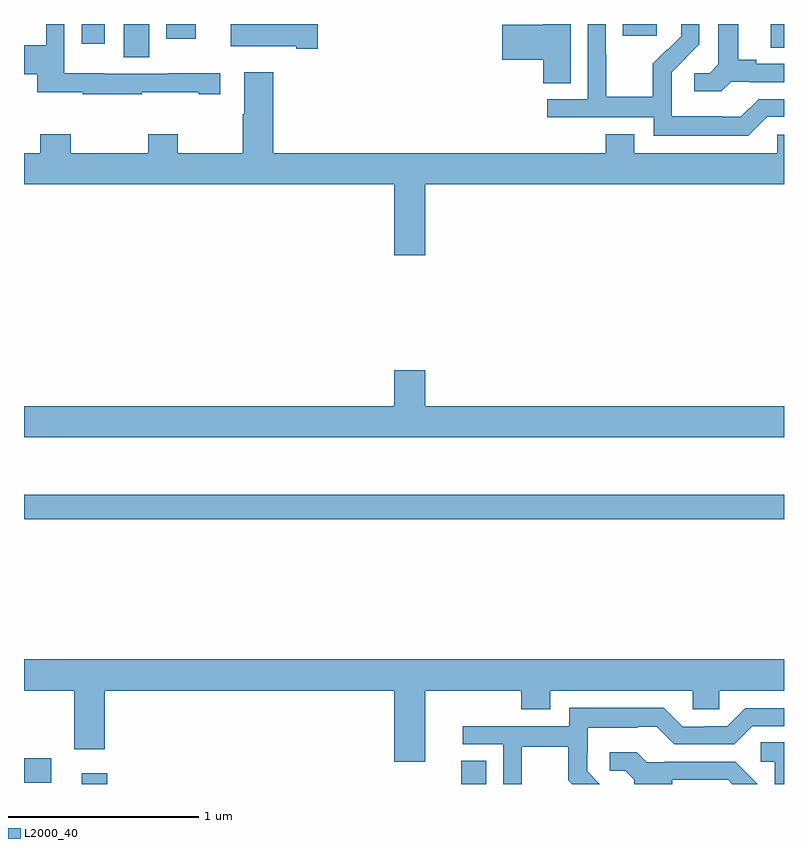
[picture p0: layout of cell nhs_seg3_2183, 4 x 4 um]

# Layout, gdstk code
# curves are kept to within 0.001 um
import gdstk
lib = gdstk.Library(unit=1e-6, precision=1e-09)
def R(c, l, rs):  # rectangles x0, y0, x1, y1
    for r in rs: c.add(gdstk.rectangle(r[:2], r[2:], *l))
def P(c, l, *ps):  # polygons
    for p in ps: c.add(gdstk.Polygon(p, *l))
L2000_40 = (2000, 40)

nhs_seg3_2183 = lib.new_cell('nhs_seg3_2183')
R(nhs_seg3_2183, L2000_40, [(223.304,724.4,223.439,724.456), (225.302,724.4,225.433,724.523), (223,724.407,223.144,724.536), (223,725.794,227,725.923), (223.526,728.224,223.66,728.4), (226.931,728.275,227,728.4), (223.304,728.295,223.426,728.4), (223.748,728.322,223.903,728.4), (226.151,728.337,226.33,728.4)])
P(nhs_seg3_2183, L2000_40, [(226.911,727.911),(227,727.911),(227,728.004),(226.866,728.004),(226.773,727.911),(226.673,727.911),(226.673,727.915),(226.41,727.915),(226.41,728.049),(226.408,728.049),(226.408,728.146),(226.554,728.294),(226.554,728.4),(226.46,728.4),(226.46,728.336),(226.389,728.265),(226.386,728.268),(226.309,728.191),(226.309,728.017),(226.065,728.017),(226.065,728.24),(226.062,728.24),(226.062,728.4),(225.966,728.4),(225.966,728.004),(225.753,728.004),(225.753,727.908),(226.314,727.908),(226.314,727.811),(226.811,727.811)],
  [(226.722,728.097),(226.816,728.097),(226.816,728.094),(227,728.094),(227,728.19),(226.855,728.19),(226.855,728.213),(226.759,728.213),(226.759,728.4),(226.655,728.4),(226.655,728.189),(226.608,728.142),(226.527,728.142),(226.527,728.045),(226.67,728.045)],
  [(224.545,728.4),(224.087,728.4),(224.087,728.282),(224.432,728.282),(224.432,728.27),(224.545,728.27)],
  [(223.619,728.041),(223.919,728.041),(223.919,728.031),(224.032,728.031),(224.032,728.141),(223.756,728.141),(223.756,728.139),(223.422,728.139),(223.422,728.14),(223.212,728.14),(223.212,728.4),(223.116,728.4),(223.116,728.288),(223,728.288),(223,728.135),(223.07,728.135),(223.07,728.041),(223.309,728.041),(223.309,728.031),(223.619,728.031)],
  [(225.877,728.4),(225.734,728.4),(225.734,728.396),(225.516,728.396),(225.516,728.213),(225.734,728.213),(225.734,728.089),(225.877,728.089)],
  [(225.112,727.556),(227,727.556),(227,727.818),(226.965,727.818),(226.965,727.72),(226.213,727.72),(226.213,727.819),(226.061,727.819),(226.061,727.72),(224.312,727.72),(224.312,728.146),(224.159,728.146),(224.159,727.925),(224.152,727.925),(224.152,727.72),(223.809,727.72),(223.809,727.819),(223.654,727.819),(223.654,727.72),(223.245,727.72),(223.245,727.819),(223.085,727.819),(223.085,727.72),(223,727.72),(223,727.556),(224.948,727.556),(224.948,727.182),(225.112,727.182)],
  [(227,726.388),(225.112,726.388),(225.112,726.577),(224.948,726.577),(224.948,726.388),(223,726.388),(223,726.224),(227,726.224)],
  [(225.112,724.892),(225.617,724.892),(225.617,724.793),(225.769,724.793),(225.769,724.892),(226.521,724.892),(226.521,724.794),(226.659,724.794),(226.659,724.892),(227,724.892),(227,725.056),(223,725.056),(223,724.892),(223.264,724.892),(223.264,724.584),(223.424,724.584),(223.424,724.892),(224.948,724.892),(224.948,724.518),(225.112,724.518)],
  [(225.621,724.596),(225.865,724.596),(225.865,724.421),(225.886,724.4),(226.03,724.4),(225.964,724.466),(225.964,724.563),(225.966,724.563),(225.966,724.697),(226.229,724.697),(226.229,724.701),(226.329,724.701),(226.422,724.608),(226.737,724.608),(226.833,724.704),(227,724.704),(227,724.8),(226.797,724.8),(226.701,724.704),(226.583,724.704),(226.583,724.701),(226.467,724.701),(226.367,724.801),(225.87,724.801),(225.87,724.704),(225.309,724.704),(225.309,724.608),(225.522,724.608),(225.522,724.4),(225.621,724.4)],
  [(227,724.619),(226.878,724.619),(226.878,724.518),(226.95,724.518),(226.95,724.4),(227,724.4)],
  [(226.411,724.422),(226.706,724.422),(226.728,724.4),(226.86,724.4),(226.86,724.402),(226.744,724.518),(226.372,724.518),(226.372,724.515),(226.278,724.515),(226.226,724.567),(226.083,724.567),(226.083,724.47),(226.164,724.47),(226.211,724.423),(226.211,724.4),(226.411,724.4)])

lib.write_gds('nhs_seg3_2183.gds')
